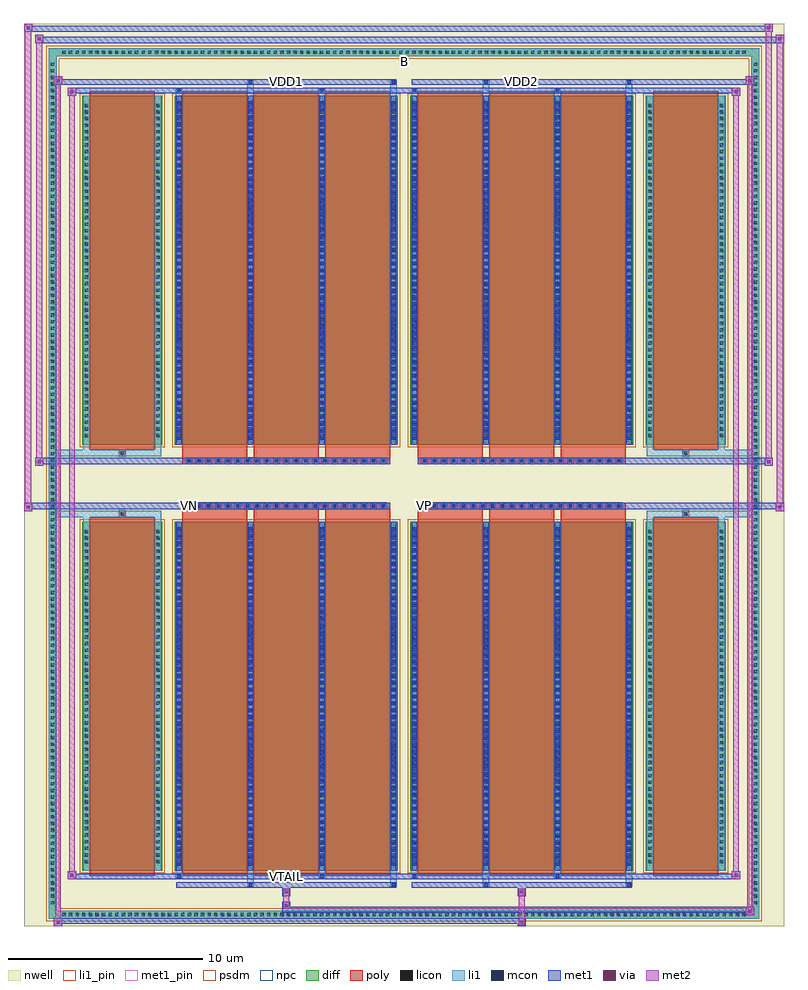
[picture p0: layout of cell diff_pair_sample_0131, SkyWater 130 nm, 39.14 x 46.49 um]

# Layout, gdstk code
import gdstk
lib = gdstk.Library(unit=1e-6, precision=5e-09)
def R(c, l, rs):  # rectangles x0, y0, x1, y1
    for r in rs: c.add(gdstk.rectangle(r[:2], r[2:], *l))
def A(c, l, x, y, w, h, nx, ny, dx, dy):  # array of equal rectangles
    R(c, l, [(x+i*dx, y+j*dy, x+i*dx+w, y+j*dy+h) for i in range(nx) for j in range(ny)])
def P(c, l, *ps):  # polygons
    for p in ps: c.add(gdstk.Polygon(p, *l))
nwell = (64, 20)
diff = (65, 20)
poly = (66, 20)
licon = (66, 44)
li1_pin = (67, 16)
li1 = (67, 20)
mcon = (67, 44)
met1_pin = (68, 16)
met1 = (68, 20)
via = (68, 44)
met2 = (69, 20)
psdm = (94, 20)
npc = (95, 20)

diff_pair_sample_0131 = lib.new_cell('diff_pair_sample_0131')
R(diff_pair_sample_0131, nwell, [(-19.57,-22.81,19.57,23.68), (-16.89,-21,-0.01,-0.8), (0.01,-21,16.89,-0.8), (-16.89,0.8,-0.01,21), (0.01,0.8,16.89,21)])
A(diff_pair_sample_0131, diff, -17.715, -22.41, 0.41, 0.41, 104, 2, 0.34, 44.41)
A(diff_pair_sample_0131, diff, -18.3, -21.795, 0.41, 0.41, 1, 128, 0, 0.34)
A(diff_pair_sample_0131, diff, 17.89, -21.795, 0.41, 0.41, 1, 128, 0, 0.34)
R(diff_pair_sample_0131, diff, [(-17.715,-22.41,17.715,-22), (-18.3,-21.795,-17.89,21.795), (17.89,-21.795,18.3,21.795), (-16.58,-19.955,-12.45,-1.985), (-11.81,-19.955,-0.32,-1.985), (0.32,-19.955,11.81,-1.985), (12.45,-19.955,16.58,-1.985), (-16.58,1.985,-12.45,19.955), (-11.81,1.985,-0.32,19.955), (0.32,1.985,11.81,19.955), (12.45,1.985,16.58,19.955), (-17.715,22,17.715,22.41)])
P(diff_pair_sample_0131, diff, [(18.3,22.41),(-18.3,22.41),(-18.3,-22),(-17.89,-22),(-17.89,22),(17.89,22),(17.89,-22),(-17.89,-22),(-18.3,-22),(-18.3,-22.41),(18.3,-22.41)])
A(diff_pair_sample_0131, poly, -11.42, -20.205, 3.35, 18.47, 3, 2, 3.68, 21.94)
A(diff_pair_sample_0131, poly, 0.71, -20.205, 3.35, 18.47, 3, 2, 3.68, 21.94)
A(diff_pair_sample_0131, poly, -11.42, -1.735, 3.35, 0.405, 3, 2, 3.68, 3.065)
A(diff_pair_sample_0131, poly, 0.71, -1.735, 3.35, 0.405, 3, 2, 3.68, 3.065)
A(diff_pair_sample_0131, poly, -11.23, -1.33, 0.33, 0.33, 21, 2, 0.5, 2.33)
A(diff_pair_sample_0131, poly, 0.9, -1.33, 0.33, 0.33, 21, 2, 0.5, 2.33)
R(diff_pair_sample_0131, poly, [(-16.19,-20.205,-12.84,-1.735), (12.84,-20.205,16.19,-1.735), (-14.68,-1.735,-14.35,-1.405), (-14.68,-1.735,-14.35,-1.405), (14.35,-1.735,14.68,-1.405), (14.35,-1.735,14.68,-1.405), (-11.42,-1.33,-0.71,-1), (0.71,-1.33,11.42,-1), (-11.42,1,-0.71,1.33), (0.71,1,11.42,1.33), (-14.68,1.405,-14.35,1.735), (-14.68,1.405,-14.35,1.735), (14.35,1.405,14.68,1.735), (14.35,1.405,14.68,1.735), (-16.19,1.735,-12.84,20.205), (12.84,1.735,16.19,20.205)])
A(diff_pair_sample_0131, licon, -17.595, -22.29, 0.17, 0.17, 104, 2, 0.34, 44.41)
A(diff_pair_sample_0131, licon, -18.18, -21.675, 0.17, 0.17, 1, 128, 0, 0.34)
A(diff_pair_sample_0131, licon, 18.01, -21.675, 0.17, 0.17, 1, 128, 0, 0.34)
A(diff_pair_sample_0131, licon, -16.44, -19.555, 0.17, 0.17, 1, 51, 0, 0.34)
A(diff_pair_sample_0131, licon, -12.76, -19.555, 0.17, 0.17, 1, 51, 0, 0.34)
A(diff_pair_sample_0131, licon, -11.67, -19.555, 0.17, 0.17, 4, 51, 3.68, 0.34)
A(diff_pair_sample_0131, licon, 0.46, -19.555, 0.17, 0.17, 4, 51, 3.68, 0.34)
A(diff_pair_sample_0131, licon, 12.59, -19.555, 0.17, 0.17, 1, 51, 0, 0.34)
A(diff_pair_sample_0131, licon, 16.27, -19.555, 0.17, 0.17, 1, 51, 0, 0.34)
A(diff_pair_sample_0131, licon, -11.15, -1.25, 0.17, 0.17, 21, 2, 0.5, 2.33)
A(diff_pair_sample_0131, licon, 0.98, -1.25, 0.17, 0.17, 21, 2, 0.5, 2.33)
A(diff_pair_sample_0131, licon, -16.44, 2.385, 0.17, 0.17, 1, 51, 0, 0.34)
A(diff_pair_sample_0131, licon, -12.76, 2.385, 0.17, 0.17, 1, 51, 0, 0.34)
A(diff_pair_sample_0131, licon, -11.67, 2.385, 0.17, 0.17, 4, 51, 3.68, 0.34)
A(diff_pair_sample_0131, licon, 0.46, 2.385, 0.17, 0.17, 4, 51, 3.68, 0.34)
A(diff_pair_sample_0131, licon, 12.59, 2.385, 0.17, 0.17, 1, 51, 0, 0.34)
A(diff_pair_sample_0131, licon, 16.27, 2.385, 0.17, 0.17, 1, 51, 0, 0.34)
R(diff_pair_sample_0131, licon, [(-14.6,-1.655,-14.43,-1.485), (14.43,-1.655,14.6,-1.485), (-14.6,1.485,-14.43,1.655), (14.43,1.485,14.6,1.655)])
R(diff_pair_sample_0131, li1_pin, [(-0.25,21.5,0.25,22)])
A(diff_pair_sample_0131, li1, -17.675, -22.37, 0.33, 0.33, 104, 2, 0.34, 44.41)
A(diff_pair_sample_0131, li1, -18.26, -21.755, 0.33, 0.33, 1, 128, 0, 0.34)
A(diff_pair_sample_0131, li1, 17.93, -21.755, 0.33, 0.33, 1, 128, 0, 0.34)
A(diff_pair_sample_0131, li1, -11.75, -19.955, 0.33, 17.97, 4, 2, 3.68, 21.94)
A(diff_pair_sample_0131, li1, 0.38, -19.955, 0.33, 17.97, 4, 2, 3.68, 21.94)
A(diff_pair_sample_0131, li1, -11.67, -19.695, 0.17, 0.17, 4, 49, 3.68, 0.36)
A(diff_pair_sample_0131, li1, -11.67, -19.695, 0.17, 17.45, 4, 2, 3.68, 21.94)
A(diff_pair_sample_0131, li1, 0.46, -19.695, 0.17, 0.17, 4, 49, 3.68, 0.36)
A(diff_pair_sample_0131, li1, 0.46, -19.695, 0.17, 17.45, 4, 2, 3.68, 21.94)
A(diff_pair_sample_0131, li1, -16.52, -19.635, 0.33, 0.33, 1, 51, 0, 0.34)
A(diff_pair_sample_0131, li1, -12.84, -19.635, 0.33, 0.33, 1, 51, 0, 0.34)
A(diff_pair_sample_0131, li1, -11.75, -19.635, 0.33, 0.33, 4, 51, 3.68, 0.34)
A(diff_pair_sample_0131, li1, 0.38, -19.635, 0.33, 0.33, 4, 51, 3.68, 0.34)
A(diff_pair_sample_0131, li1, 12.51, -19.635, 0.33, 0.33, 1, 51, 0, 0.34)
A(diff_pair_sample_0131, li1, 16.19, -19.635, 0.33, 0.33, 1, 51, 0, 0.34)
A(diff_pair_sample_0131, li1, -11.23, -1.33, 0.33, 0.33, 21, 2, 0.5, 2.33)
A(diff_pair_sample_0131, li1, 0.9, -1.33, 0.33, 0.33, 21, 2, 0.5, 2.33)
A(diff_pair_sample_0131, li1, -11.67, 2.245, 0.17, 0.17, 4, 49, 3.68, 0.36)
A(diff_pair_sample_0131, li1, 0.46, 2.245, 0.17, 0.17, 4, 49, 3.68, 0.36)
A(diff_pair_sample_0131, li1, -16.52, 2.305, 0.33, 0.33, 1, 51, 0, 0.34)
A(diff_pair_sample_0131, li1, -12.84, 2.305, 0.33, 0.33, 1, 51, 0, 0.34)
A(diff_pair_sample_0131, li1, -11.75, 2.305, 0.33, 0.33, 4, 51, 3.68, 0.34)
A(diff_pair_sample_0131, li1, 0.38, 2.305, 0.33, 0.33, 4, 51, 3.68, 0.34)
A(diff_pair_sample_0131, li1, 12.51, 2.305, 0.33, 0.33, 1, 51, 0, 0.34)
A(diff_pair_sample_0131, li1, 16.19, 2.305, 0.33, 0.33, 1, 51, 0, 0.34)
R(diff_pair_sample_0131, li1, [(-18.3,-22.41,-17.89,-22), (-18.3,-22.41,-17.89,-22), (-17.89,-22.41,17.89,-22), (17.89,-22.41,18.3,-22), (17.89,-22.41,18.3,-22), (-18.3,-22,-17.89,22), (17.89,-22,18.3,22), (-8.07,-20.76,-7.74,-19.955), (-7.99,-20.76,-7.82,-20.59), (-0.71,-20.76,-0.38,-19.955), (-0.63,-20.76,-0.46,-20.59), (4.06,-20.76,4.39,-19.955), (4.14,-20.76,4.31,-20.59), (11.42,-20.76,11.75,-19.955), (11.5,-20.76,11.67,-20.59), (-11.75,-20.33,-11.42,-19.955), (-11.67,-20.33,-11.5,-20.16), (-4.39,-20.33,-4.06,-19.955), (-4.31,-20.33,-4.14,-20.16), (0.38,-20.33,0.71,-19.955), (0.46,-20.33,0.63,-20.16), (7.74,-20.33,8.07,-19.955), (7.82,-20.33,7.99,-20.16), (-16.52,-19.955,-16.19,-1.985), (-12.84,-19.955,-12.51,-1.985), (12.51,-19.955,12.84,-1.985), (16.19,-19.955,16.52,-1.985), (-16.52,-1.985,-16.19,-1.405), (-12.84,-1.985,-12.51,-1.405), (12.51,-1.985,12.84,-1.405), (16.19,-1.985,16.52,-1.405), (-18.3,-1.735,-14.68,-1.405), (-16.52,-1.735,-14.68,-1.405), (-14.68,-1.735,-14.35,-1.405), (-14.35,-1.735,-12.51,-1.405), (12.51,-1.735,14.35,-1.405), (14.35,-1.735,14.68,-1.405), (14.35,-1.735,18.3,-1.405), (14.68,-1.735,16.52,-1.405), (-18.3,1.405,-14.68,1.735), (-16.52,1.405,-14.68,1.735), (-16.52,1.405,-16.19,1.985), (-14.68,1.405,-14.35,1.735), (-14.35,1.405,-12.51,1.735), (-12.84,1.405,-12.51,1.985), (12.51,1.405,14.35,1.735), (12.51,1.405,12.84,1.985), (14.35,1.405,14.68,1.735), (14.35,1.405,18.3,1.735), (14.68,1.405,16.52,1.735), (16.19,1.405,16.52,1.985), (-16.52,1.985,-16.19,19.955), (-12.84,1.985,-12.51,19.955), (12.51,1.985,12.84,19.955), (16.19,1.985,16.52,19.955), (-11.75,19.955,-11.42,20.33), (-8.07,19.955,-7.74,20.76), (-4.39,19.955,-4.06,20.33), (-0.71,19.955,-0.38,20.76), (0.38,19.955,0.71,20.33), (4.06,19.955,4.39,20.76), (7.74,19.955,8.07,20.33), (11.42,19.955,11.75,20.76), (-11.67,20.16,-11.5,20.33), (-4.31,20.16,-4.14,20.33), (0.46,20.16,0.63,20.33), (7.82,20.16,7.99,20.33), (-7.99,20.59,-7.82,20.76), (-0.63,20.59,-0.46,20.76), (4.14,20.59,4.31,20.76), (11.5,20.59,11.67,20.76), (-18.3,22,-17.89,22.41), (-18.3,22,-17.89,22.41), (-17.89,22,17.89,22.41), (17.89,22,18.3,22.41), (17.89,22,18.3,22.41)])
A(diff_pair_sample_0131, mcon, -11.67, -19.695, 0.17, 0.17, 4, 49, 3.68, 0.36)
A(diff_pair_sample_0131, mcon, 0.46, -19.695, 0.17, 0.17, 4, 49, 3.68, 0.36)
A(diff_pair_sample_0131, mcon, -11.15, -1.25, 0.17, 0.17, 21, 2, 0.5, 2.33)
A(diff_pair_sample_0131, mcon, 0.98, -1.25, 0.17, 0.17, 21, 2, 0.5, 2.33)
A(diff_pair_sample_0131, mcon, -11.67, 2.245, 0.17, 0.17, 4, 49, 3.68, 0.36)
A(diff_pair_sample_0131, mcon, 0.46, 2.245, 0.17, 0.17, 4, 49, 3.68, 0.36)
R(diff_pair_sample_0131, mcon, [(-7.99,-20.76,-7.82,-20.59), (-0.63,-20.76,-0.46,-20.59), (4.14,-20.76,4.31,-20.59), (11.5,-20.76,11.67,-20.59), (-11.67,-20.33,-11.5,-20.16), (-4.31,-20.33,-4.14,-20.16), (0.46,-20.33,0.63,-20.16), (7.82,-20.33,7.99,-20.16), (-11.67,20.16,-11.5,20.33), (-4.31,20.16,-4.14,20.33), (0.46,20.16,0.63,20.33), (7.82,20.16,7.99,20.33), (-7.99,20.59,-7.82,20.76), (-0.63,20.59,-0.46,20.76), (4.14,20.59,4.31,20.76), (11.5,20.59,11.67,20.76)])
R(diff_pair_sample_0131, met1_pin, [(-6.2,-20.37,-5.93,-20.1), (-11.2,-1.29,-10.93,-1.02), (0.93,-1.29,1.2,-1.02), (-6.2,20.55,-5.93,20.82), (5.93,20.55,6.2,20.82)])
A(diff_pair_sample_0131, met1, -11.73, -19.955, 0.29, 17.97, 4, 2, 3.68, 21.94)
A(diff_pair_sample_0131, met1, 0.4, -19.955, 0.29, 17.97, 4, 2, 3.68, 21.94)
A(diff_pair_sample_0131, met1, -11.73, -19.755, 0.29, 0.29, 4, 49, 3.68, 0.36)
A(diff_pair_sample_0131, met1, 0.4, -19.755, 0.29, 0.29, 4, 49, 3.68, 0.36)
A(diff_pair_sample_0131, met1, -11.21, -1.31, 0.29, 0.29, 21, 2, 0.5, 2.33)
A(diff_pair_sample_0131, met1, 0.92, -1.31, 0.29, 0.29, 21, 2, 0.5, 2.33)
A(diff_pair_sample_0131, met1, -11.73, 2.185, 0.29, 0.29, 4, 49, 3.68, 0.36)
A(diff_pair_sample_0131, met1, 0.4, 2.185, 0.29, 0.29, 4, 49, 3.68, 0.36)
R(diff_pair_sample_0131, met1, [(-18.03,-22.81,-17.6,-22.38), (5.85,-22.81,6.28,-22.38), (-18.03,-22.67,6.28,-22.38), (17.6,-22.24,18.03,-21.81), (-6.28,-22.1,18.03,-21.81), (-6.28,-21.96,-5.85,-21.53), (-6.28,-21.25,-5.85,-20.82), (5.85,-21.25,6.28,-20.82), (-11.73,-20.82,-0.4,-20.53), (-8.05,-20.82,-7.76,-20.53), (-0.69,-20.82,-0.4,-20.53), (0.4,-20.82,11.73,-20.53), (4.08,-20.82,4.37,-20.53), (11.44,-20.82,11.73,-20.53), (-17.32,-20.39,-16.89,-19.96), (-17.32,-20.39,-11.73,-20.1), (-11.73,-20.39,-11.44,-20.1), (-11.73,-20.39,-0.4,-20.1), (-4.37,-20.39,-4.08,-20.1), (-0.4,-20.39,0.4,-20.1), (0.4,-20.39,0.69,-20.1), (0.4,-20.39,11.73,-20.1), (7.76,-20.39,8.05,-20.1), (11.73,-20.39,17.32,-20.1), (16.89,-20.39,17.32,-19.96), (-19.57,-1.43,-19.14,-1), (19.14,-1.43,19.57,-1), (-19.57,-1.33,-0.71,-1), (-11.42,-1.33,-0.71,-1), (0.71,-1.33,11.42,-1), (0.71,-1.33,19.57,-1), (-19,0.9,-18.57,1.33), (18.57,0.9,19,1.33), (-19,1,-11.42,1.33), (-11.42,1,-0.71,1.33), (0.71,1,11.42,1.33), (11.42,1,19,1.33), (-17.32,19.96,-16.89,20.39), (16.89,19.96,17.32,20.39), (-17.32,20.1,-11.73,20.39), (-11.73,20.1,-11.44,20.39), (-11.73,20.1,-0.4,20.39), (-4.37,20.1,-4.08,20.39), (-0.4,20.1,0.4,20.39), (0.4,20.1,0.69,20.39), (0.4,20.1,11.73,20.39), (7.76,20.1,8.05,20.39), (11.73,20.1,17.32,20.39), (-18.03,20.53,-17.6,20.96), (-18.03,20.53,-11.73,20.82), (-11.73,20.53,-0.4,20.82), (-8.05,20.53,-7.76,20.82), (-0.69,20.53,-0.4,20.82), (0.4,20.53,11.73,20.82), (4.08,20.53,4.37,20.82), (11.44,20.53,11.73,20.82), (11.73,20.53,18.03,20.82), (17.6,20.53,18.03,20.96), (-19,22.68,-18.57,23.11), (-19,22.68,-16.89,23.01), (-16.89,22.68,16.89,23.01), (16.89,22.68,19.57,23.01), (19.14,22.68,19.57,23.11), (-19.57,23.25,-19.14,23.68), (-19.57,23.25,-16.89,23.58), (-16.89,23.25,16.89,23.58), (16.89,23.25,19,23.58), (18.57,23.25,19,23.68)])
R(diff_pair_sample_0131, via, [(-17.89,-22.67,-17.74,-22.52), (5.99,-22.67,6.14,-22.52), (17.74,-22.1,17.89,-21.95), (-6.14,-21.82,-5.99,-21.67), (-6.14,-21.11,-5.99,-20.96), (5.99,-21.11,6.14,-20.96), (-17.18,-20.25,-17.03,-20.1), (17.03,-20.25,17.18,-20.1), (-19.43,-1.29,-19.28,-1.14), (19.28,-1.29,19.43,-1.14), (-18.86,1.04,-18.71,1.19), (18.71,1.04,18.86,1.19), (-17.18,20.1,-17.03,20.25), (17.03,20.1,17.18,20.25), (-17.89,20.67,-17.74,20.82), (17.74,20.67,17.89,20.82), (-18.86,22.82,-18.71,22.97), (19.28,22.82,19.43,22.97), (-19.43,23.39,-19.28,23.54), (18.71,23.39,18.86,23.54)])
R(diff_pair_sample_0131, met2, [(-18.03,-22.81,-17.6,-22.38), (-17.96,-22.81,-17.67,20.96), (-17.67,-22.81,-17.6,-22.38), (-17.98,-22.76,-17.65,-22.43), (5.9,-22.76,6.23,-22.43), (5.9,-22.43,6.23,-21.2), (17.6,-22.24,18.03,-21.81), (17.67,-22.24,17.96,20.96), (17.96,-22.24,18.03,-21.81), (17.65,-22.19,17.98,-21.86), (-6.23,-21.91,-5.9,-21.58), (-6.23,-21.58,-5.9,-21.2), (-6.23,-21.2,-5.9,-20.87), (5.9,-21.2,6.23,-20.87), (-17.32,-20.39,-16.89,-19.96), (-17.25,-20.39,-16.96,20.39), (-16.96,-20.39,-16.89,-19.96), (16.89,-20.39,17.32,-19.96), (16.96,-20.39,17.25,20.39), (17.25,-20.39,17.32,-19.96), (-17.27,-20.34,-16.94,-20.01), (16.94,-20.34,17.27,-20.01), (-19.57,-1.43,-19.14,-1), (-19.52,-1.43,-19.19,23.68), (-19.19,-1.43,-19.14,-1), (19.14,-1.43,19.57,-1), (19.19,-1.43,19.52,23.11), (19.52,-1.43,19.57,-1), (-19.52,-1.38,-19.19,-1.05), (19.19,-1.38,19.52,-1.05), (-19,0.9,-18.57,1.33), (-18.95,0.9,-18.62,23.11), (-18.62,0.9,-18.57,1.33), (18.57,0.9,19,1.33), (18.62,0.9,18.95,23.68), (18.95,0.9,19,1.33), (-18.95,0.95,-18.62,1.28), (18.62,0.95,18.95,1.28), (-17.32,19.96,-16.89,20.39), (-16.96,19.96,-16.89,20.39), (16.89,19.96,17.32,20.39), (17.25,19.96,17.32,20.39), (-17.27,20.01,-16.94,20.34), (16.94,20.01,17.27,20.34), (-18.03,20.53,-17.6,20.96), (-17.67,20.53,-17.6,20.96), (17.6,20.53,18.03,20.96), (17.96,20.53,18.03,20.96), (-17.98,20.58,-17.65,20.91), (17.65,20.58,17.98,20.91), (-19,22.68,-18.57,23.11), (-18.62,22.68,-18.57,23.11), (19.14,22.68,19.57,23.11), (19.52,22.68,19.57,23.11), (-18.95,22.73,-18.62,23.06), (19.19,22.73,19.52,23.06), (-19.57,23.25,-19.14,23.68), (-19.19,23.25,-19.14,23.68), (18.57,23.25,19,23.68), (18.95,23.25,19,23.68), (-19.52,23.3,-19.19,23.63), (18.62,23.3,18.95,23.63)])
R(diff_pair_sample_0131, psdm, [(-16.71,-20.085,-12.32,-1.855), (-11.94,-20.085,-0.19,-1.855), (0.19,-20.085,11.94,-1.855), (12.32,-20.085,16.71,-1.855), (-16.71,1.855,-12.32,20.085), (-11.94,1.855,-0.19,20.085), (0.19,1.855,11.94,20.085), (12.32,1.855,16.71,20.085)])
P(diff_pair_sample_0131, psdm, [(18.43,22.54),(-18.43,22.54),(-18.43,-21.87),(-17.76,-21.87),(-17.76,21.87),(17.76,21.87),(17.76,-21.87),(-17.76,-21.87),(-18.43,-21.87),(-18.43,-22.54),(18.43,-22.54)])
A(diff_pair_sample_0131, npc, -11.25, -1.35, 0.37, 0.37, 21, 2, 0.5, 2.33)
A(diff_pair_sample_0131, npc, 0.88, -1.35, 0.37, 0.37, 21, 2, 0.5, 2.33)
R(diff_pair_sample_0131, npc, [(-14.7,-1.755,-14.33,-1.385), (14.33,-1.755,14.7,-1.385), (-11.25,-1.35,-10.38,-0.98), (-11.25,-1.35,-10.38,-0.98), (-10.75,-1.35,-9.88,-0.98), (-10.75,-1.35,-9.88,-0.98), (-10.25,-1.35,-9.38,-0.98), (-10.25,-1.35,-9.38,-0.98), (-9.75,-1.35,-8.88,-0.98), (-9.75,-1.35,-8.88,-0.98), (-9.25,-1.35,-8.38,-0.98), (-9.25,-1.35,-8.38,-0.98), (-8.75,-1.35,-7.88,-0.98), (-8.75,-1.35,-7.88,-0.98), (-8.25,-1.35,-7.38,-0.98), (-8.25,-1.35,-7.38,-0.98), (-7.75,-1.35,-6.88,-0.98), (-7.75,-1.35,-6.88,-0.98), (-7.25,-1.35,-6.38,-0.98), (-7.25,-1.35,-6.38,-0.98), (-6.75,-1.35,-5.88,-0.98), (-6.75,-1.35,-5.88,-0.98), (-6.25,-1.35,-5.38,-0.98), (-6.25,-1.35,-5.38,-0.98), (-5.75,-1.35,-4.88,-0.98), (-5.75,-1.35,-4.88,-0.98), (-5.25,-1.35,-4.38,-0.98), (-5.25,-1.35,-4.38,-0.98), (-4.75,-1.35,-3.88,-0.98), (-4.75,-1.35,-3.88,-0.98), (-4.25,-1.35,-3.38,-0.98), (-4.25,-1.35,-3.38,-0.98), (-3.75,-1.35,-2.88,-0.98), (-3.75,-1.35,-2.88,-0.98), (-3.25,-1.35,-2.38,-0.98), (-3.25,-1.35,-2.38,-0.98), (-2.75,-1.35,-1.88,-0.98), (-2.75,-1.35,-1.88,-0.98), (-2.25,-1.35,-1.38,-0.98), (-2.25,-1.35,-1.38,-0.98), (-1.75,-1.35,-0.88,-0.98), (-1.75,-1.35,-0.88,-0.98), (0.88,-1.35,1.75,-0.98), (0.88,-1.35,1.75,-0.98), (1.38,-1.35,2.25,-0.98), (1.38,-1.35,2.25,-0.98), (1.88,-1.35,2.75,-0.98), (1.88,-1.35,2.75,-0.98), (2.38,-1.35,3.25,-0.98), (2.38,-1.35,3.25,-0.98), (2.88,-1.35,3.75,-0.98), (2.88,-1.35,3.75,-0.98), (3.38,-1.35,4.25,-0.98), (3.38,-1.35,4.25,-0.98), (3.88,-1.35,4.75,-0.98), (3.88,-1.35,4.75,-0.98), (4.38,-1.35,5.25,-0.98), (4.38,-1.35,5.25,-0.98), (4.88,-1.35,5.75,-0.98), (4.88,-1.35,5.75,-0.98), (5.38,-1.35,6.25,-0.98), (5.38,-1.35,6.25,-0.98), (5.88,-1.35,6.75,-0.98), (5.88,-1.35,6.75,-0.98), (6.38,-1.35,7.25,-0.98), (6.38,-1.35,7.25,-0.98), (6.88,-1.35,7.75,-0.98), (6.88,-1.35,7.75,-0.98), (7.38,-1.35,8.25,-0.98), (7.38,-1.35,8.25,-0.98), (7.88,-1.35,8.75,-0.98), (7.88,-1.35,8.75,-0.98), (8.38,-1.35,9.25,-0.98), (8.38,-1.35,9.25,-0.98), (8.88,-1.35,9.75,-0.98), (8.88,-1.35,9.75,-0.98), (9.38,-1.35,10.25,-0.98), (9.38,-1.35,10.25,-0.98), (9.88,-1.35,10.75,-0.98), (9.88,-1.35,10.75,-0.98), (10.38,-1.35,11.25,-0.98), (10.38,-1.35,11.25,-0.98), (-11.25,0.98,-10.38,1.35), (-11.25,0.98,-10.38,1.35), (-10.75,0.98,-9.88,1.35), (-10.75,0.98,-9.88,1.35), (-10.25,0.98,-9.38,1.35), (-10.25,0.98,-9.38,1.35), (-9.75,0.98,-8.88,1.35), (-9.75,0.98,-8.88,1.35), (-9.25,0.98,-8.38,1.35), (-9.25,0.98,-8.38,1.35), (-8.75,0.98,-7.88,1.35), (-8.75,0.98,-7.88,1.35), (-8.25,0.98,-7.38,1.35), (-8.25,0.98,-7.38,1.35), (-7.75,0.98,-6.88,1.35), (-7.75,0.98,-6.88,1.35), (-7.25,0.98,-6.38,1.35), (-7.25,0.98,-6.38,1.35), (-6.75,0.98,-5.88,1.35), (-6.75,0.98,-5.88,1.35), (-6.25,0.98,-5.38,1.35), (-6.25,0.98,-5.38,1.35), (-5.75,0.98,-4.88,1.35), (-5.75,0.98,-4.88,1.35), (-5.25,0.98,-4.38,1.35), (-5.25,0.98,-4.38,1.35), (-4.75,0.98,-3.88,1.35), (-4.75,0.98,-3.88,1.35), (-4.25,0.98,-3.38,1.35), (-4.25,0.98,-3.38,1.35), (-3.75,0.98,-2.88,1.35), (-3.75,0.98,-2.88,1.35), (-3.25,0.98,-2.38,1.35), (-3.25,0.98,-2.38,1.35), (-2.75,0.98,-1.88,1.35), (-2.75,0.98,-1.88,1.35), (-2.25,0.98,-1.38,1.35), (-2.25,0.98,-1.38,1.35), (-1.75,0.98,-0.88,1.35), (-1.75,0.98,-0.88,1.35), (0.88,0.98,1.75,1.35), (0.88,0.98,1.75,1.35), (1.38,0.98,2.25,1.35), (1.38,0.98,2.25,1.35), (1.88,0.98,2.75,1.35), (1.88,0.98,2.75,1.35), (2.38,0.98,3.25,1.35), (2.38,0.98,3.25,1.35), (2.88,0.98,3.75,1.35), (2.88,0.98,3.75,1.35), (3.38,0.98,4.25,1.35), (3.38,0.98,4.25,1.35), (3.88,0.98,4.75,1.35), (3.88,0.98,4.75,1.35), (4.38,0.98,5.25,1.35), (4.38,0.98,5.25,1.35), (4.88,0.98,5.75,1.35), (4.88,0.98,5.75,1.35), (5.38,0.98,6.25,1.35), (5.38,0.98,6.25,1.35), (5.88,0.98,6.75,1.35), (5.88,0.98,6.75,1.35), (6.38,0.98,7.25,1.35), (6.38,0.98,7.25,1.35), (6.88,0.98,7.75,1.35), (6.88,0.98,7.75,1.35), (7.38,0.98,8.25,1.35), (7.38,0.98,8.25,1.35), (7.88,0.98,8.75,1.35), (7.88,0.98,8.75,1.35), (8.38,0.98,9.25,1.35), (8.38,0.98,9.25,1.35), (8.88,0.98,9.75,1.35), (8.88,0.98,9.75,1.35), (9.38,0.98,10.25,1.35), (9.38,0.98,10.25,1.35), (9.88,0.98,10.75,1.35), (9.88,0.98,10.75,1.35), (10.38,0.98,11.25,1.35), (10.38,0.98,11.25,1.35), (-14.7,1.385,-14.33,1.755), (14.33,1.385,14.7,1.755)])
diff_pair_sample_0131.add(gdstk.Label('VTAIL', (-6.065,-20.235), layer=68, texttype=5))
diff_pair_sample_0131.add(gdstk.Label('VN', (-11.065,-1.155), layer=68, texttype=5))
diff_pair_sample_0131.add(gdstk.Label('VP', (1.065,-1.155), layer=68, texttype=5))
diff_pair_sample_0131.add(gdstk.Label('B', (0,21.75), layer=67, texttype=5))
diff_pair_sample_0131.add(gdstk.Label('VDD2', (6.065,20.685), layer=68, texttype=5))
diff_pair_sample_0131.add(gdstk.Label('VDD1', (-6.065,20.685), layer=68, texttype=5))

lib.write_gds('diff_pair_sample_0131.gds')
